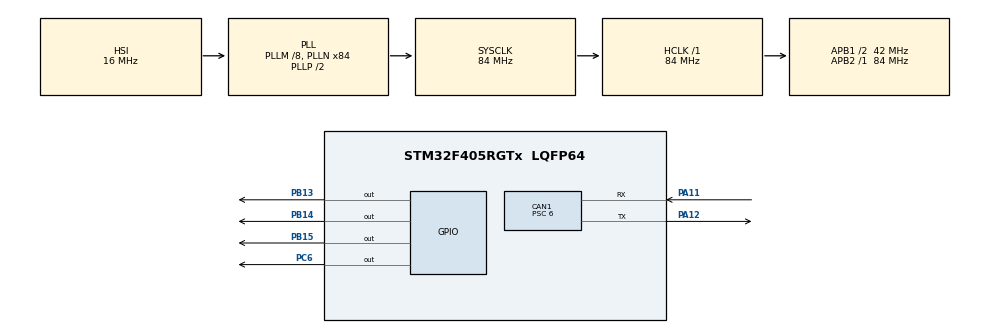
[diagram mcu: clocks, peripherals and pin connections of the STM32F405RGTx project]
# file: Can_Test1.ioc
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CAN1.BS1=CAN_BS1_11TQ
CAN1.BS2=CAN_BS2_2TQ
CAN1.CalculateBaudRate=500000
CAN1.CalculateTimeBit=2000
CAN1.CalculateTimeQuantum=142.85714285714286
CAN1.Mode=CAN_MODE_LOOPBACK
CAN1.Prescaler=6
Mcu.Family=STM32F4
Mcu.Name=STM32F405RGTx
Mcu.Package=LQFP64
NVIC.CAN1_RX0_IRQn=true\:0\:0\:false\:false\:true\:true\:true\:true
NVIC.PriorityGroup=NVIC_PRIORITYGROUP_4
PA11.Mode=CAN_Activate
PA11.Signal=CAN1_RX
PA12.Mode=CAN_Activate
PA12.Signal=CAN1_TX
PB13.Signal=GPIO_Output
PB14.Signal=GPIO_Output
PB15.Signal=GPIO_Output
PC6.Signal=GPIO_Output
ProjectManager.HeapSize=0x200
ProjectManager.StackSize=0x400
ProjectManager.TargetToolchain=STM32CubeIDE
RCC.48MHZClocksFreq_Value=42000000
RCC.AHBFreq_Value=84000000
RCC.APB1CLKDivider=RCC_HCLK_DIV2
RCC.APB1Freq_Value=42000000
RCC.APB1TimFreq_Value=84000000
RCC.APB2Freq_Value=84000000
RCC.APB2TimFreq_Value=84000000
RCC.CortexFreq_Value=84000000
RCC.HCLKFreq_Value=84000000
RCC.HSE_VALUE=25000000
RCC.HSI_VALUE=16000000
RCC.LSE_VALUE=32768
RCC.PLLM=8
RCC.PLLN=84
RCC.SYSCLKFreq_VALUE=84000000
RCC.SYSCLKSource=RCC_SYSCLKSOURCE_PLLCLK
RCC.VCOOutputFreq_Value=168000000
board=custom

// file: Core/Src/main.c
/* USER CODE BEGIN Header */
/**
  ******************************************************************************
  * @file           : main.c
  * @brief          : Main program body
  ******************************************************************************
  * @attention
  *
  * Copyright (c) 2026 STMicroelectronics.
  * All rights reserved.
  *
  * This software is licensed under terms that can be found in the LICENSE file
  * in the root directory of this software component.
  * If no LICENSE file comes with this software, it is provided AS-IS.
  *
  ******************************************************************************
  */
/* USER CODE END Header */
#include "main.h"

CAN_HandleTypeDef hcan1;

/* USER CODE BEGIN PV */
uint8_t TxData[8] = {0x11, 0x22, 0x33, 0x44, 0x00, 0x00, 0x00, 0x00};
uint8_t RxData[8];
uint32_t TxMailbox;

CAN_TxHeaderTypeDef TxHeader;
CAN_RxHeaderTypeDef RxHeader;

/* USER CODE END PV */

void SystemClock_Config(void);
static void MX_GPIO_Init(void);
static void MX_CAN1_Init(void);

int main(void)
{

  /* MCU Configuration--------------------------------------------------------*/

  /* Reset of all peripherals, Initializes the Flash interface and the Systick. */
  HAL_Init();

  /* Configure the system clock */
  SystemClock_Config();

  /* Initialize all configured peripherals */
  MX_GPIO_Init();
  MX_CAN1_Init();
  /* USER CODE BEGIN 2 */
  CAN_FilterTypeDef canfilterconfig;

  canfilterconfig.FilterActivation = ENABLE;
  canfilterconfig.FilterBank = 0;
  canfilterconfig.FilterFIFOAssignment = CAN_FILTER_FIFO0;
  canfilterconfig.FilterIdHigh = 0x0000;
  canfilterconfig.FilterIdLow = 0x0000;
  canfilterconfig.FilterMaskIdHigh = 0x0000;
  canfilterconfig.FilterMaskIdLow = 0x0000;
  canfilterconfig.FilterMode = CAN_FILTERMODE_IDMASK;
  canfilterconfig.FilterScale = CAN_FILTERSCALE_32BIT;
  canfilterconfig.SlaveStartFilterBank = 14;

  if (HAL_CAN_ConfigFilter(&hcan1, &canfilterconfig) != HAL_OK)
  {
    Error_Handler();
  }

  if (HAL_CAN_Start(&hcan1) != HAL_OK)
  {
    Error_Handler();
  }

  if (HAL_CAN_ActivateNotification(&hcan1, CAN_IT_RX_FIFO0_MSG_PENDING) != HAL_OK)
  {
    Error_Handler();
  }

  /* USER CODE END 2 */

  /* Infinite loop */
  while (1)
  {

    /* USER CODE BEGIN 3 */
	  TxHeader.DLC = 4;                    // 4 data bytes
	  TxHeader.IDE = CAN_ID_STD;           // Standard 11-bit ID
	  TxHeader.RTR = CAN_RTR_DATA;         // Data frame, not remote request
	  TxHeader.StdId = 0x123;              // Arbitrary test ID
	  TxHeader.TransmitGlobalTime = DISABLE;

	  HAL_CAN_AddTxMessage(&hcan1, &TxHeader, TxData, &TxMailbox);

	  HAL_Delay(500);
  }
  /* USER CODE END 3 */
}

void SystemClock_Config(void)
{
  RCC_OscInitTypeDef RCC_OscInitStruct = {0};
  RCC_ClkInitTypeDef RCC_ClkInitStruct = {0};

  /** Configure the main internal regulator output voltage
  */
  __HAL_RCC_PWR_CLK_ENABLE();
  __HAL_PWR_VOLTAGESCALING_CONFIG(PWR_REGULATOR_VOLTAGE_SCALE1);

  /** Initializes the RCC Oscillators according to the specified parameters
  * in the RCC_OscInitTypeDef structure.
  */
  RCC_OscInitStruct.OscillatorType = RCC_OSCILLATORTYPE_HSI;
  RCC_OscInitStruct.HSIState = RCC_HSI_ON;
  RCC_OscInitStruct.HSICalibrationValue = RCC_HSICALIBRATION_DEFAULT;
  RCC_OscInitStruct.PLL.PLLState = RCC_PLL_ON;
  RCC_OscInitStruct.PLL.PLLSource = RCC_PLLSOURCE_HSI;
  RCC_OscInitStruct.PLL.PLLM = 8;
  RCC_OscInitStruct.PLL.PLLN = 84;
  RCC_OscInitStruct.PLL.PLLP = RCC_PLLP_DIV2;
  RCC_OscInitStruct.PLL.PLLQ = 4;
  if (HAL_RCC_OscConfig(&RCC_OscInitStruct) != HAL_OK)
  {
    Error_Handler();
  }

  /** Initializes the CPU, AHB and APB buses clocks
  */
  RCC_ClkInitStruct.ClockType = RCC_CLOCKTYPE_HCLK|RCC_CLOCKTYPE_SYSCLK
                              |RCC_CLOCKTYPE_PCLK1|RCC_CLOCKTYPE_PCLK2;
  RCC_ClkInitStruct.SYSCLKSource = RCC_SYSCLKSOURCE_PLLCLK;
  RCC_ClkInitStruct.AHBCLKDivider = RCC_SYSCLK_DIV1;
  RCC_ClkInitStruct.APB1CLKDivider = RCC_HCLK_DIV2;
  RCC_ClkInitStruct.APB2CLKDivider = RCC_HCLK_DIV1;

  if (HAL_RCC_ClockConfig(&RCC_ClkInitStruct, FLASH_LATENCY_2) != HAL_OK)
  {
    Error_Handler();
  }
}

static void MX_CAN1_Init(void)
{

  hcan1.Instance = CAN1;
  hcan1.Init.Prescaler = 6;
  hcan1.Init.Mode = CAN_MODE_LOOPBACK;
  hcan1.Init.SyncJumpWidth = CAN_SJW_1TQ;
  hcan1.Init.TimeSeg1 = CAN_BS1_11TQ;
  hcan1.Init.TimeSeg2 = CAN_BS2_2TQ;
  hcan1.Init.TimeTriggeredMode = DISABLE;
  hcan1.Init.AutoBusOff = DISABLE;
  hcan1.Init.AutoWakeUp = DISABLE;
  hcan1.Init.AutoRetransmission = DISABLE;
  hcan1.Init.ReceiveFifoLocked = DISABLE;
  hcan1.Init.TransmitFifoPriority = DISABLE;
  if (HAL_CAN_Init(&hcan1) != HAL_OK)
  {
    Error_Handler();
  }

}

static void MX_GPIO_Init(void)
{
  GPIO_InitTypeDef GPIO_InitStruct = {0};

  /* GPIO Ports Clock Enable */
  __HAL_RCC_GPIOB_CLK_ENABLE();
  __HAL_RCC_GPIOC_CLK_ENABLE();
  __HAL_RCC_GPIOA_CLK_ENABLE();

  /*Configure GPIO pin Output Level */
  HAL_GPIO_WritePin(GPIOB, GPIO_PIN_13|GPIO_PIN_14|GPIO_PIN_15, GPIO_PIN_RESET);

  /*Configure GPIO pin Output Level */
  HAL_GPIO_WritePin(GPIOC, GPIO_PIN_6, GPIO_PIN_RESET);

  /*Configure GPIO pins : PB13 PB14 PB15 */
  GPIO_InitStruct.Pin = GPIO_PIN_13|GPIO_PIN_14|GPIO_PIN_15;
  GPIO_InitStruct.Mode = GPIO_MODE_OUTPUT_PP;
  GPIO_InitStruct.Pull = GPIO_NOPULL;
  GPIO_InitStruct.Speed = GPIO_SPEED_FREQ_LOW;
  HAL_GPIO_Init(GPIOB, &GPIO_InitStruct);

  /*Configure GPIO pin : PC6 */
  GPIO_InitStruct.Pin = GPIO_PIN_6;
  GPIO_InitStruct.Mode = GPIO_MODE_OUTPUT_PP;
  GPIO_InitStruct.Pull = GPIO_NOPULL;
  GPIO_InitStruct.Speed = GPIO_SPEED_FREQ_LOW;
  HAL_GPIO_Init(GPIOC, &GPIO_InitStruct);

}

/* USER CODE BEGIN 4 */

void HAL_CAN_RxFifo0MsgPendingCallback(CAN_HandleTypeDef *hcan)
{
  if (HAL_CAN_GetRxMessage(hcan, CAN_RX_FIFO0, &RxHeader, RxData) == HAL_OK)
  {
    // Check if received data matches what we sent
    if (RxData[0] == 0x11 && RxData[1] == 0x22 &&
        RxData[2] == 0x33 && RxData[3] == 0x44)
    {
      HAL_GPIO_TogglePin(GPIOC, GPIO_PIN_6);  // Green LED toggles = success
    }
  }
}

/* USER CODE END 4 */

void Error_Handler(void)
{
  __disable_irq();
  while (1)
  {
  }
}
